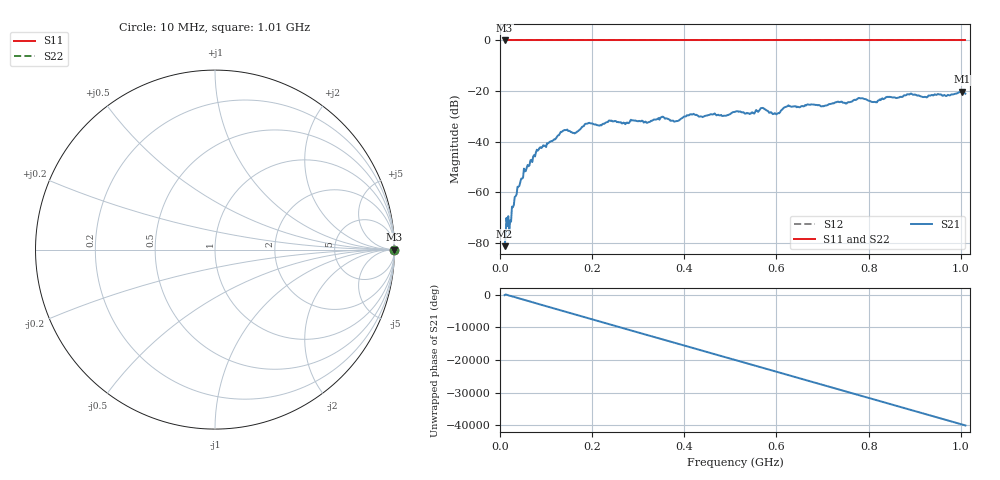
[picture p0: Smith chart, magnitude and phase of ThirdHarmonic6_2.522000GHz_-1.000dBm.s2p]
! 8/17/2025 4:58:31 AM
! C:\ANRITSUVNA\TEMP\TEMP.S2P
! CHANNEL.1
! TR.MEASUREMENT
! RAW.DATA
! RF.CORRECTION.OFF
! AVERAGING.OFF
! IF.BANDWIDTH: 5KHZ
! SWEEPTYPE:  FREQ.SWEEP(Linear)
! Reference Plane Port Info
! PORT:  PORT1  PORT2
! DISTANCE:  0  m  0  m
! TIME:  0  s  0  s
! PHASE.OFFSET:  0  deg.  0  deg.
! LOSS:  0  dB  0  dB
! REF.LOSS:  0  dB  0  dB
! REF.FREQ:  0  Hz  0  Hz
! Power Info
! POWER:  -20  dBm  -20  dBm
! EFF.POWER:  -20  dBm  -20  dBm
! SOURCE.ATTEN:  0  dB  0  dB
! TEST.ATTEN:  0  dB  0  dB
# GHZ S RI R 50.0
! FREQ.GHZ  S11RE  S11IM  S21RE  S21IM  S12RE  S12IM  S22RE  S22IM
!; PortSelection: Port_12
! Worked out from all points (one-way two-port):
!   501 points, 10 MHz to 1.01 GHz, reference 50 ohm
!   highest |S21| = -20.23 dB at 1.002 GHz (marker M1); lowest = -81.4 dB at 10 MHz (marker M2)
!   lowest |S11| = 0.0 dB at 10 MHz (marker M3)
!   |S11| at or under -10 dB: nowhere
!   |S22| runs from 0.0 to 0.0 dB; largest |S21 - S12| = 1.1
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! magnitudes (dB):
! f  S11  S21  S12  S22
! 10 MHz  0.0  -81.4  0.0  0.0
! 24 MHz  0.0  -71.7  0.0  0.0
! 30 MHz  0.0  -65.1  0.0  0.0
! 42 MHz  0.0  -57.5  0.0  0.0
! 82 MHz  0.0  -43.6  0.0  0.0
! 136 MHz  0.0  -35.9  0.0  0.0
! 162 MHz  0.0  -36.8  0.0  0.0
! 178 MHz  0.0  -34.2  0.0  0.0
! 344 MHz  0.0  -30.7  0.0  0.0
! 382 MHz  0.0  -31.9  0.0  0.0
! 416 MHz  0.0  -29.3  0.0  0.0
! 510 MHz  0.0  -28.2  0.0  0.0
! 548 MHz  0.0  -28.4  0.0  0.0
! 570 MHz  0.0  -26.7  0.0  0.0
! 602 MHz  0.0  -28.9  0.0  0.0
! 622 MHz  0.0  -26.2  0.0  0.0
! 678 MHz  0.0  -25.3  0.0  0.0
! 782 MHz  0.0  -22.9  0.0  0.0
! 814 MHz  0.0  -24.3  0.0  0.0
! 844 MHz  0.0  -22.3  0.0  0.0
! 1.002 GHz  0.0  -20.2  0.0  0.0
! 1.01 GHz  0.0  -21.1  0.0  0.0
